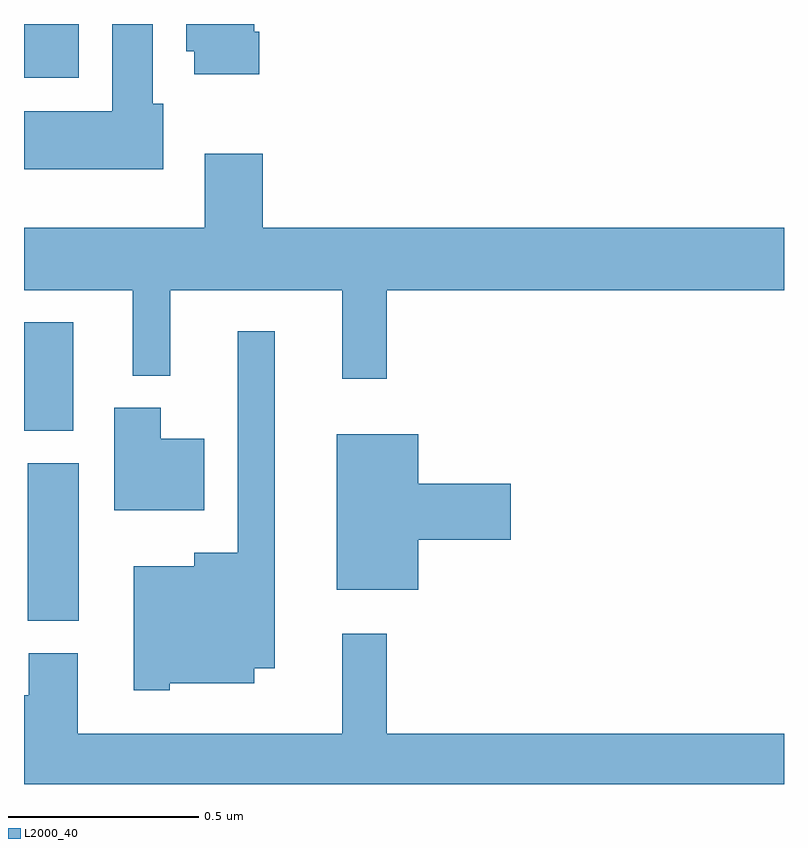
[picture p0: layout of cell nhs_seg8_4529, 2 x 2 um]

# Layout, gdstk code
import gdstk
lib = gdstk.Library(unit=1e-6, precision=1e-09)
def R(c, l, rs):  # rectangles x0, y0, x1, y1
    for r in rs: c.add(gdstk.rectangle(r[:2], r[2:], *l))
def P(c, l, *ps):  # polygons
    for p in ps: c.add(gdstk.Polygon(p, *l))
L2000_40 = (2000, 40)

nhs_seg8_4529 = lib.new_cell('nhs_seg8_4529')
R(nhs_seg8_4529, L2000_40, [(172.01,1082.329,172.144,1082.744), (172,1082.829,172.129,1083.115), (172,1083.758,172.144,1083.9)])
P(nhs_seg8_4529, L2000_40, [(172.619,1083.88),(172.606,1083.88),(172.606,1083.9),(172.427,1083.9),(172.427,1083.828),(172.448,1083.828),(172.448,1083.768),(172.619,1083.768)],
  [(172.366,1083.69),(172.339,1083.69),(172.339,1083.9),(172.232,1083.9),(172.232,1083.67),(172,1083.67),(172,1083.518),(172.366,1083.518)],
  [(172.838,1082.967),(172.955,1082.967),(172.955,1083.2),(174,1083.2),(174,1083.364),(172.628,1083.364),(172.628,1083.559),(172.475,1083.559),(172.475,1083.364),(172,1083.364),(172,1083.2),(172.286,1083.2),(172.286,1082.975),(172.385,1082.975),(172.385,1083.2),(172.838,1083.2)],
  [(172.383,1082.165),(172.606,1082.165),(172.606,1082.204),(172.66,1082.204),(172.66,1083.091),(172.563,1083.091),(172.563,1082.509),(172.448,1082.509),(172.448,1082.473),(172.289,1082.473),(172.289,1082.147),(172.383,1082.147)],
  [(172.474,1082.809),(172.36,1082.809),(172.36,1082.89),(172.238,1082.89),(172.238,1082.621),(172.474,1082.621)],
  [(173.038,1082.543),(173.281,1082.543),(173.281,1082.69),(173.038,1082.69),(173.038,1082.821),(172.823,1082.821),(172.823,1082.411),(173.038,1082.411)],
  [(174,1082.032),(172.955,1082.032),(172.955,1082.296),(172.837,1082.296),(172.837,1082.032),(172.141,1082.032),(172.141,1082.244),(172.013,1082.244),(172.013,1082.133),(172.001,1082.133),(172.001,1082.032),(172,1082.032),(172,1081.9),(174,1081.9)])

lib.write_gds('nhs_seg8_4529.gds')
